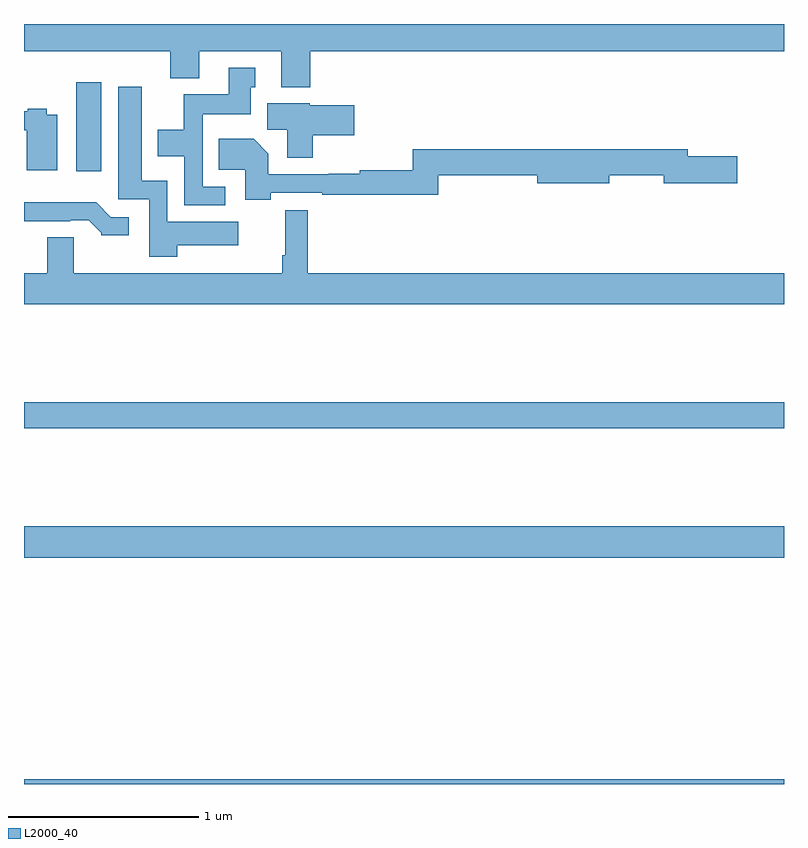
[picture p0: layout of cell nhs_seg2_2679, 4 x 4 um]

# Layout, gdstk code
import gdstk
lib = gdstk.Library(unit=1e-6, precision=1e-09)
def R(c, l, rs):  # rectangles x0, y0, x1, y1
    for r in rs: c.add(gdstk.rectangle(r[:2], r[2:], *l))
def P(c, l, *ps):  # polygons
    for p in ps: c.add(gdstk.Polygon(p, *l))
L2000_40 = (2000, 40)

nhs_seg2_2679 = lib.new_cell('nhs_seg2_2679')
R(nhs_seg2_2679, L2000_40, [(251,623.8,255,623.824), (251,624.992,255,625.156), (251,625.672,255,625.808), (251.276,627.024,251.407,627.493)])
P(nhs_seg2_2679, L2000_40, [(252.506,627.656),(255,627.656),(255,627.8),(251,627.8),(251,627.656),(251.771,627.656),(251.771,627.515),(251.923,627.515),(251.923,627.656),(252.353,627.656),(252.353,627.467),(252.506,627.467)],
  [(252.058,626.943),(251.94,626.943),(251.94,627.326),(252.193,627.326),(252.193,627.468),(252.217,627.468),(252.217,627.571),(252.077,627.571),(252.077,627.43),(251.842,627.43),(251.842,627.244),(251.705,627.244),(251.705,627.104),(251.844,627.104),(251.844,626.847),(252.058,626.847)],
  [(251.807,626.636),(252.127,626.636),(252.127,626.758),(251.754,626.758),(251.754,626.974),(251.62,626.974),(251.62,627.469),(251.495,627.469),(251.495,626.877),(251.658,626.877),(251.658,626.574),(251.807,626.574)],
  [(252.521,627.215),(252.739,627.215),(252.739,627.373),(252.504,627.373),(252.504,627.382),(252.281,627.382),(252.281,627.244),(252.386,627.244),(252.386,627.096),(252.521,627.096)],
  [(251.176,627.322),(251.121,627.322),(251.121,627.355),(251.021,627.355),(251.021,627.342),(251,627.342),(251,627.241),(251.014,627.241),(251.014,627.029),(251.176,627.029)],
  [(252.299,626.913),(252.571,626.913),(252.571,626.901),(253.181,626.901),(253.181,627.004),(253.7,627.004),(253.7,626.962),(254.08,626.962),(254.08,627.004),(254.366,627.004),(254.366,626.962),(254.755,626.962),(254.755,627.104),(254.494,627.104),(254.494,627.14),(253.045,627.14),(253.045,627.029),(252.768,627.029),(252.768,627.011),(252.604,627.011),(252.604,627.009),(252.286,627.009),(252.286,627.118),(252.208,627.196),(252.025,627.196),(252.025,627.032),(252.164,627.032),(252.164,626.875),(252.299,626.875)],
  [(251.551,626.784),(251.457,626.784),(251.379,626.863),(251,626.863),(251,626.763),(251.243,626.763),(251.243,626.766),(251.342,626.766),(251.406,626.702),(251.406,626.687),(251.551,626.687)],
  [(255,626.488),(252.494,626.488),(252.494,626.821),(252.376,626.821),(252.376,626.584),(252.358,626.584),(252.358,626.488),(251.263,626.488),(251.263,626.678),(251.123,626.678),(251.123,626.488),(251,626.488),(251,626.324),(255,626.324)])

lib.write_gds('nhs_seg2_2679.gds')
